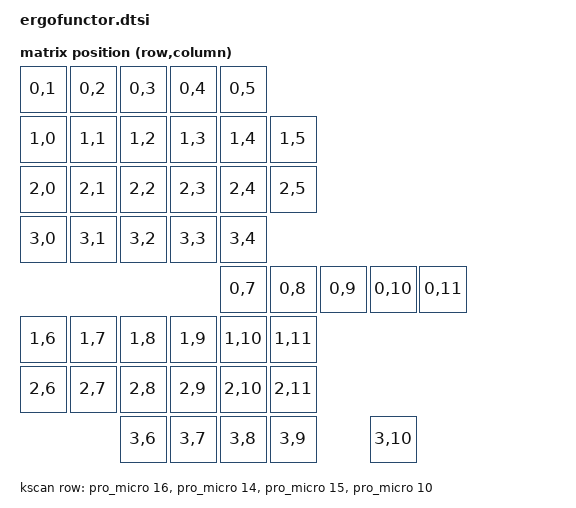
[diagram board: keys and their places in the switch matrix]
#include <dt-bindings/zmk/matrix_transform.h>

#include "ergofunctor-layouts.dtsi"

/ {
    chosen {
        zmk,physical-layout = &default_layout;
        zephyr,display = &oled;
    };

    kscan: kscan {
        compatible = "zmk,kscan-gpio-matrix";
        diode-direction = "col2row";
        wakeup-source;

        row-gpios
            = <&pro_micro 16 (GPIO_ACTIVE_HIGH | GPIO_PULL_DOWN)>
            , <&pro_micro 14 (GPIO_ACTIVE_HIGH | GPIO_PULL_DOWN)>
            , <&pro_micro 15 (GPIO_ACTIVE_HIGH | GPIO_PULL_DOWN)>
            , <&pro_micro 10 (GPIO_ACTIVE_HIGH | GPIO_PULL_DOWN)>
            ;
    };

    default_transform: default_transform {
        compatible = "zmk,matrix-transform";
        columns = <12>;
        rows = <4>;

        map = <
        // Left half (columns 0-5)
        // bottom row
              RC(0,1) RC(0,2) RC(0,3) RC(0,4) RC(0,5)
        // home row
            RC(1,0) RC(1,1) RC(1,2) RC(1,3) RC(1,4) RC(1,5)
        // top row
            RC(2,0) RC(2,1) RC(2,2) RC(2,3) RC(2,4) RC(2,5)
        // thumb row
            RC(3,0) RC(3,1) RC(3,2) RC(3,3) RC(3,4)

        // Right half (columns 6-11)
        // bottom row
                                            RC(0,7) RC(0,8) RC(0,9) RC(0,10) RC(0,11)
        // home row
            RC(1,6) RC(1,7) RC(1,8) RC(1,9) RC(1,10) RC(1,11)
        // top row
            RC(2,6) RC(2,7) RC(2,8) RC(2,9) RC(2,10) RC(2,11)
        // thumb row
                                RC(3,6) RC(3,7) RC(3,8) RC(3,9) RC(3,10)
        >;
    };
};

&pro_micro_i2c {
    status = "okay";

    oled: ssd1306@3c {
        compatible = "solomon,ssd1306fb";
        reg = <0x3c>;
        width = <128>;
        height = <32>;
        segment-offset = <0>;
        page-offset = <0>;
        display-offset = <0>;
        multiplex-ratio = <31>;
        segment-remap;
        com-invdir;
        com-sequential;
        inversion-on;
        prechargep = <0x22>;
    };
};
